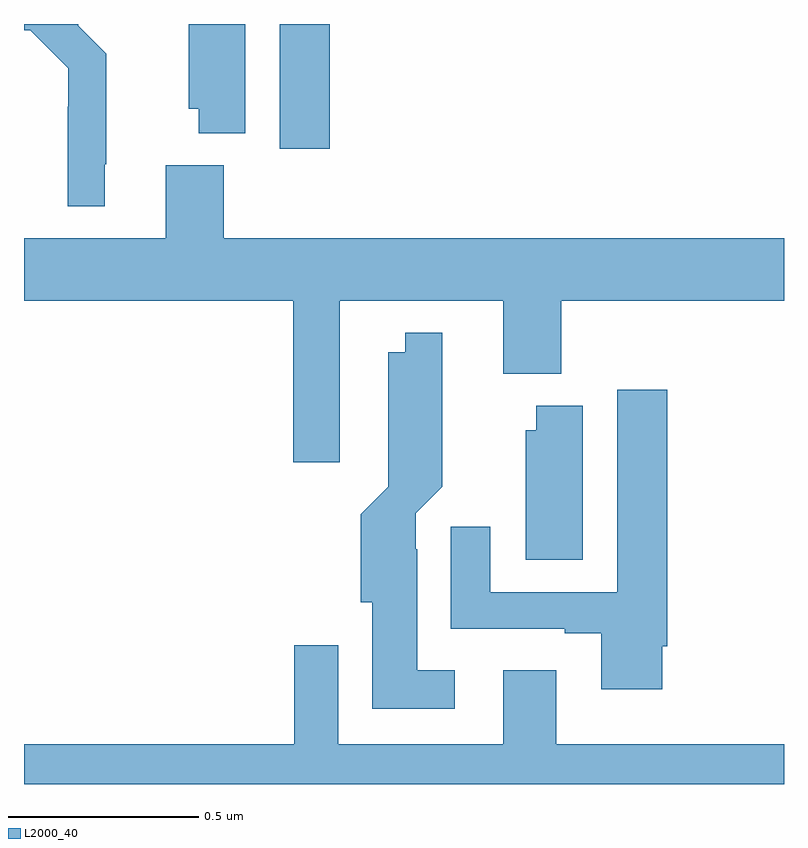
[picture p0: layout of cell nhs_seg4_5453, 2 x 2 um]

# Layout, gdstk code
import gdstk
lib = gdstk.Library(unit=1e-6, precision=1e-09)
def R(c, l, rs):  # rectangles x0, y0, x1, y1
    for r in rs: c.add(gdstk.rectangle(r[:2], r[2:], *l))
def P(c, l, *ps):  # polygons
    for p in ps: c.add(gdstk.Polygon(p, *l))
L2000_40 = (2000, 40)

nhs_seg4_5453 = lib.new_cell('nhs_seg4_5453')
R(nhs_seg4_5453, L2000_40, [(178.673,778.572,178.805,778.9)])
P(nhs_seg4_5453, L2000_40, [(178.582,778.9),(178.433,778.9),(178.433,778.677),(178.46,778.677),(178.46,778.613),(178.582,778.613)],
  [(178.213,778.531),(178.217,778.531),(178.217,778.822),(178.143,778.896),(178.143,778.9),(178,778.9),(178,778.883),(178.017,778.883),(178.116,778.784),(178.116,778.682),(178.115,778.682),(178.115,778.421),(178.213,778.421)],
  [(178.831,778.172),(179.261,778.172),(179.261,777.98),(179.414,777.98),(179.414,778.172),(180,778.172),(180,778.336),(178.526,778.336),(178.526,778.528),(178.373,778.528),(178.373,778.336),(178,778.336),(178,778.172),(178.709,778.172),(178.709,777.747),(178.831,777.747)],
  [(179.134,777.199),(179.035,777.199),(179.035,777.518),(179.031,777.518),(179.031,777.612),(179.101,777.682),(179.101,777.784),(179.1,777.784),(179.1,778.087),(179.003,778.087),(179.003,778.036),(178.958,778.036),(178.958,777.682),(178.886,777.61),(178.886,777.378),(178.916,777.378),(178.916,777.098),(179.134,777.098)],
  [(179.68,777.262),(179.693,777.262),(179.693,777.937),(179.561,777.937),(179.561,777.405),(179.227,777.405),(179.227,777.577),(179.123,777.577),(179.123,777.309),(179.423,777.309),(179.423,777.297),(179.519,777.297),(179.519,777.15),(179.68,777.15)],
  [(179.47,777.895),(179.348,777.895),(179.348,777.831),(179.321,777.831),(179.321,777.49),(179.47,777.49)],
  [(180,777.004),(179.401,777.004),(179.401,777.199),(179.261,777.199),(179.261,777.004),(178.827,777.004),(178.827,777.265),(178.711,777.265),(178.711,777.004),(178,777.004),(178,776.9),(180,776.9)])

lib.write_gds('nhs_seg4_5453.gds')
